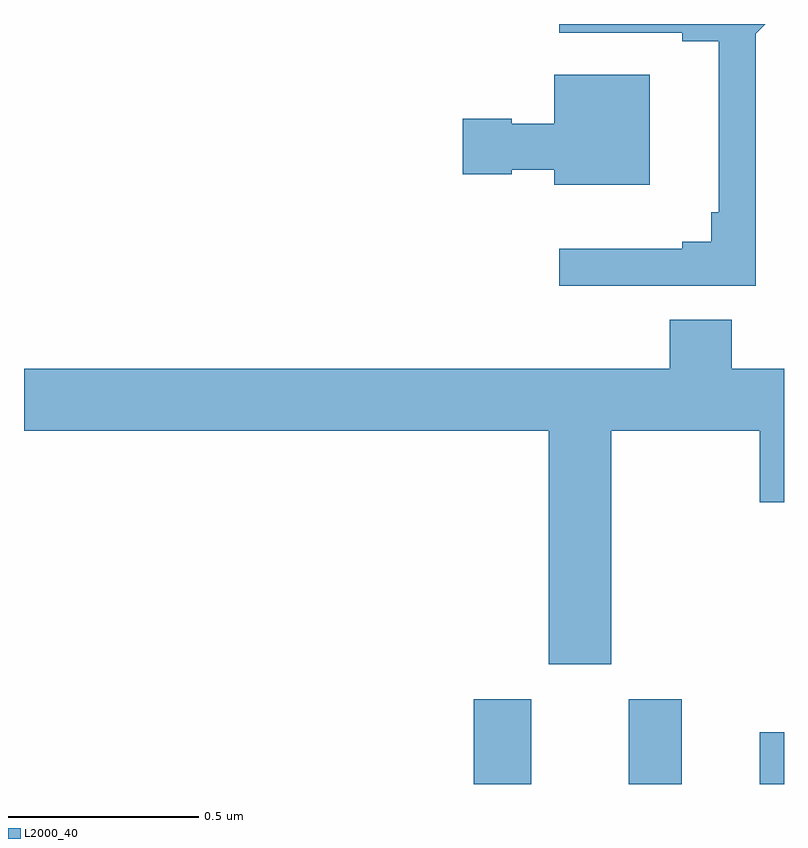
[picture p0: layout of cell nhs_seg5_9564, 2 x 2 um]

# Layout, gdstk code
import gdstk
lib = gdstk.Library(unit=1e-6, precision=1e-09)
def R(c, l, rs):  # rectangles x0, y0, x1, y1
    for r in rs: c.add(gdstk.rectangle(r[:2], r[2:], *l))
def P(c, l, *ps):  # polygons
    for p in ps: c.add(gdstk.Polygon(p, *l))
L2000_40 = (2000, 40)

nhs_seg5_9564 = lib.new_cell('nhs_seg5_9564')
R(nhs_seg5_9564, L2000_40, [(236.183,887.799,236.335,888.022), (236.591,887.799,236.731,888.022), (236.936,887.799,237,887.935)])
P(nhs_seg5_9564, L2000_40, [(236.925,889.773),(236.951,889.799),(236.409,889.799),(236.409,889.776),(236.732,889.776),(236.732,889.754),(236.828,889.754),(236.828,889.303),(236.809,889.303),(236.809,889.226),(236.732,889.226),(236.732,889.207),(236.409,889.207),(236.409,889.11),(236.925,889.11)],
  [(236.647,889.666),(236.396,889.666),(236.396,889.537),(236.283,889.537),(236.283,889.55),(236.154,889.55),(236.154,889.403),(236.283,889.403),(236.283,889.415),(236.396,889.415),(236.396,889.376),(236.647,889.376)],
  [(236.545,888.728),(236.936,888.728),(236.936,888.54),(237,888.54),(237,888.892),(236.863,888.892),(236.863,889.021),(236.699,889.021),(236.699,888.892),(235,888.892),(235,888.728),(236.381,888.728),(236.381,888.114),(236.545,888.114)])

lib.write_gds('nhs_seg5_9564.gds')
